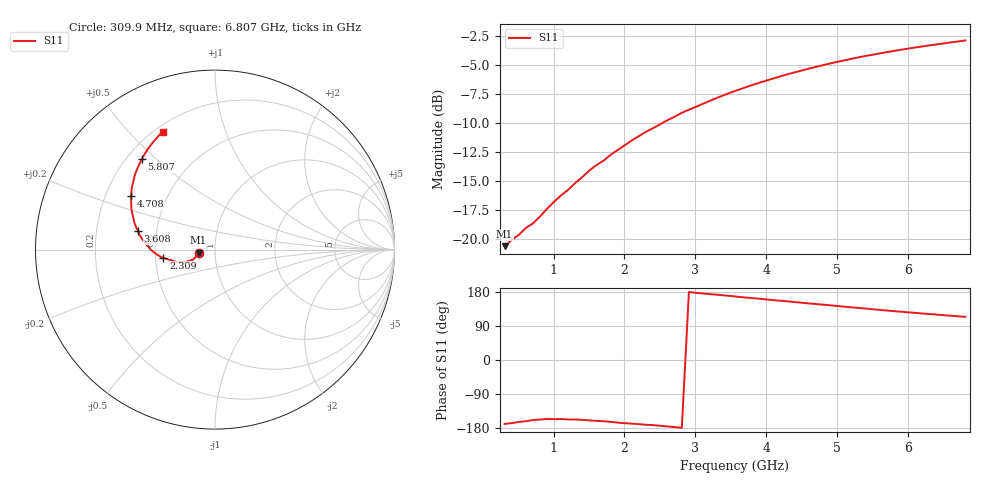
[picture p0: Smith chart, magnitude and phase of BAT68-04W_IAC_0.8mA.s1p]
! Infineon Technologies  Discrete & RF Semiconductors
! BAT68-04W
! IAC = 0.8 mA
! One-Port S-Parameters
# Hz  S  MA  R  50
!f  S11
!Hz  Mag  Ang
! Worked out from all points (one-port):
!   66 points, 309.9 MHz to 6.807 GHz, reference 50 ohm
!   lowest |S11| = -20.6 dB at 309.9 MHz (marker M1), VSWR 1.21, Z = 41.6 - j1.51 ohm
!   |S11| at or under -10 dB: start of sweep to 2.533 GHz
!   S11 on the Smith chart (normalised r, x): 309.9 MHz: 0.83, -0.03; 2.309 GHz: 0.55, -0.05; 3.608 GHz: 0.39, +0.10; 4.708 GHz: 0.31, +0.27; 5.807 GHz: 0.26, +0.45; 6.807 GHz: 0.23, +0.63
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3.0985e8  0.09308 -168.8
5.0975e8  0.1041 -163.5
6.097e8  0.1115 -161.7
7.0965e8  0.1168 -158.5
9.0955e8  0.1351 -155.4
1.0095e9  0.1449 -156.2
1.2094e9  0.1633 -157.0
1.30935e9  0.1749 -157.0
1.50925e9  0.198 -159.5
1.70915e9  0.2182 -161.6
1.8091e9  0.2313 -163.3
2.009e9  0.2545 -166.9
2.30885e9  0.2907 -171.0
2.4088e9  0.3014 -171.9
2.8086e9  0.3502 -178.8
3.30835e9  0.4071 172.2
3.50825e9  0.4299 168.7
3.6082e9  0.4405 166.6
3.90805e9  0.4731 161.6
4.4078e9  0.5244 152.7
4.70765e9  0.5536 147.6
4.90755e9  0.5729 144.2
5.2074e9  0.5997 138.9
5.4073e9  0.6171 135.6
5.8071e9  0.6488 128.9
6.007e9  0.6638 125.8
6.4068e9  0.6921 119.7
6.8066e9  0.7192 113.9
